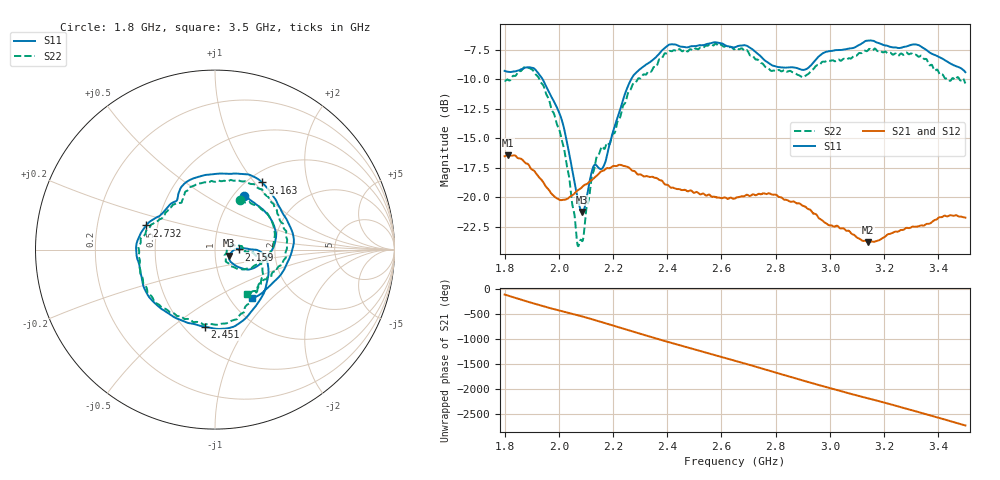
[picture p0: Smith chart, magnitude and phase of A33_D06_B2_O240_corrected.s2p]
! Created with skrf 1.9.0 (http://scikit-rf.org).
# Hz S RI R 50.0
!freq ReS11 ImS11 ReS21 ImS21 ReS12 ImS12 ReS22 ImS22
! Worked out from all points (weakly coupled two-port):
!   1601 points, 1.8 GHz to 3.5 GHz, reference 50 ohm
!   highest |S21| = -16.43 dB at 1.812 GHz (marker M1); lowest = -23.8 dB at 3.142 GHz (marker M2)
!   lowest |S11| = -21.2 dB at 2.086 GHz (marker M3), VSWR 1.19, Z = 58.5 - j4.02 ohm
!   |S11| at or under -10 dB: 1.94 GHz to 2.267 GHz (327.3 MHz wide, 15.6 % of centre)
!   |S22| runs from -24.1 to -7.0 dB; largest |S21 - S12| = 0.0025
!   S11 on the Smith chart (normalised r, x): 1.8 GHz: 1.12, +0.76; 2.159 GHz: 1.30, +0.00; 2.451 GHz: 0.63, -0.66; 2.732 GHz: 0.43, +0.14; 3.163 GHz: 1.16, +1.10; 3.5 GHz: 1.27, -0.76
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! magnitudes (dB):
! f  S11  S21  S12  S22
! 1.8 GHz  -9.3  -16.5  -16.5  -10.2
! 1.812 GHz  -9.4  -16.4  -16.4  -10.0
! 1.882 GHz  -9.0  -17.1  -17.2  -9.0
! 1.943 GHz  -10.1  -18.7  -18.7  -10.6
! 2.011 GHz  -13.5  -20.2  -20.2  -15.2
! 2.068 GHz  -19.9  -19.4  -19.4  -23.8
! 2.084 GHz  -21.2  -19.2  -19.1  -23.6
! 2.086 GHz  -21.2  -19.1  -19.1  -23.7
! 2.127 GHz  -17.4  -18.4  -18.4  -17.9
! 2.159 GHz  -17.6  -17.8  -17.7  -15.7
! 2.192 GHz  -15.1  -17.5  -17.5  -15.2
! 2.264 GHz  -10.1  -17.6  -17.6  -10.9
! 2.367 GHz  -7.9  -18.5  -18.4  -8.5
! 2.451 GHz  -7.3  -19.4  -19.3  -7.6
! 2.65 GHz  -7.3  -20.1  -20.0  -7.5
! 2.732 GHz  -7.8  -19.8  -19.8  -8.3
! 2.934 GHz  -8.7  -21.2  -21.2  -9.2
! 3.142 GHz  -6.8  -23.8  -23.7  -7.5
! 3.163 GHz  -6.8  -23.8  -23.7  -7.4
! 3.217 GHz  -7.2  -23.1  -23.1  -7.8
! 3.325 GHz  -7.1  -22.4  -22.4  -8.1
! 3.5 GHz  -9.4  -21.7  -21.7  -10.4
